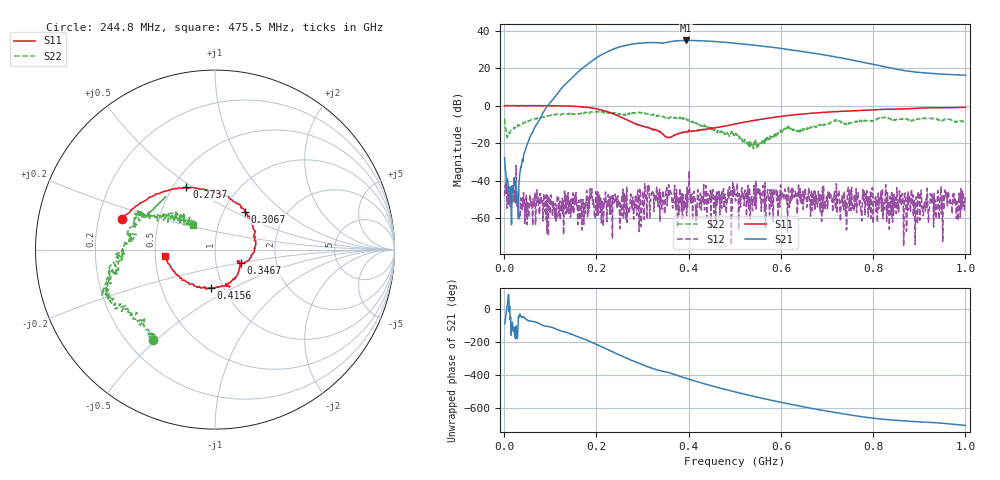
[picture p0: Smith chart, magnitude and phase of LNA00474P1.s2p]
! Created with skrf 1.9.0 (http://scikit-rf.org).
# Hz S RI R 50.0
!freq ReS11 ImS11 ReS21 ImS21 ReS12 ImS12 ReS22 ImS22
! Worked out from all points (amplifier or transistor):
!   1001 points, 1 MHz to 1 GHz, reference 50 ohm
!   highest |S21| = 34.7 dB at 394.6 MHz (marker M1)
!   |S21| within 3 dB of that: 257.3 MHz to 560.2 MHz (302.9 MHz wide, 74.1 % of centre)
!   unconditionally stable (mu >= 1): 220 MHz to 304.5 MHz; 313.8 MHz to 400.1 MHz; 401.5 MHz to end of sweep (the widest 3 of 45)
!   at 166.8 MHz: K = 0.87, MSG = 34.6 dB, |S12| = -49.9 dB
!   at 500.5 MHz: K = 2.58, MAG = 33.8 dB, |S12| = -48.3 dB
!   at 1 GHz: K = 2.97, MAG = 24.9 dB, |S12| = -48.9 dB
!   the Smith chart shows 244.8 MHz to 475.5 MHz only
!   S11 on the Smith chart (normalised r, x): 244.8 MHz: 0.30, +0.14; 273.7 MHz: 0.58, +0.48; 306.7 MHz: 1.26, +0.58; 346.7 MHz: 1.33, -0.20; 415.6 MHz: 0.88, -0.39; 475.5 MHz: 0.56, -0.04
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1000000  0.9842 0.00834  0.000141 -0.0414  -0.000906 0.0038  0.3354 0.294
1.09891e8  0.523 -0.8495  -0.8216 -1.503  0.000773 -0.000655  0.4415 -0.3904
1.67833e8  -0.2153 -0.9077  -9.536 -0.6328  0.00213 0.00167  0.0302 -0.6388
2.11789e8  -0.674 -0.3591  -15.04 17.33  0.0011 0.000322  -0.2122 -0.642
2.44756e8  -0.5209 0.1689  1.049 34.95  0.00138 -0.00117  -0.3445 -0.5041
2.73727e8  -0.1596 0.3482  26.22 33.74  -0.000373 0.00396  -0.5518 -0.3287
3.06694e8  0.1687 0.2115  45.71 12.61  -0.00229 0.00253  -0.5857 -0.1621
3.34666e8  0.2091 -0.0269  46.43 -8.894  -0.00407 7.62e-05  -0.5515 -0.0244
3.46654e8  0.1464 -0.0729  44.58 -14.75  -0.00197 0.000916  -0.5026 0.0229
3.68632e8  0.1396 -0.0859  43.21 -30.26  -0.0017 0.00506  -0.4564 0.1538
3.94606e8  0.0805 -0.1838  27.78 -47  0.00084 0.00259  -0.3976 0.1962
4.15585e8  -0.0209 -0.2128  12.15 -52.7  -0.000135 0.000803  -0.2782 0.1891
4.45555e8  -0.1777 -0.1702  -10.11 -51.02  -0.000105 0.00358  -0.1675 0.1577
4.75525e8  -0.2806 -0.0357  -27.46 -40.74  0.00614 -0.000408  -0.1225 0.1367
5.005e8  -0.3035 0.0998  -36.2 -28.79  -0.00098 -0.00371  -0.1537 0.1114
5.4046e8  -0.2483 0.3143  -40.04 -8.74  -0.00174 -0.0024  -0.0709 0.00566
5.88412e8  -0.056 0.4938  -33.37 10.63  0.00393 -0.00369  -0.1453 -0.0768
6.27373e8  0.1274 0.5535  -23.19 19.05  0.00278 -0.00377  -0.1976 -0.0915
6.67333e8  0.3205 0.5426  -12.11 22.09  0.00115 -0.00111  -0.2652 -0.0372
7.49251e8  0.6083 0.3871  2.879 16.59  -0.000453 -0.0057  -0.3335 0.0663
8.34166e8  0.7868 0.1582  6.541 7.949  0.00275 -0.00086  -0.4132 0.1941
1e9  0.8232 -0.3776  6.243 1.794  0.00249 0.0026  -0.0529 0.3727
